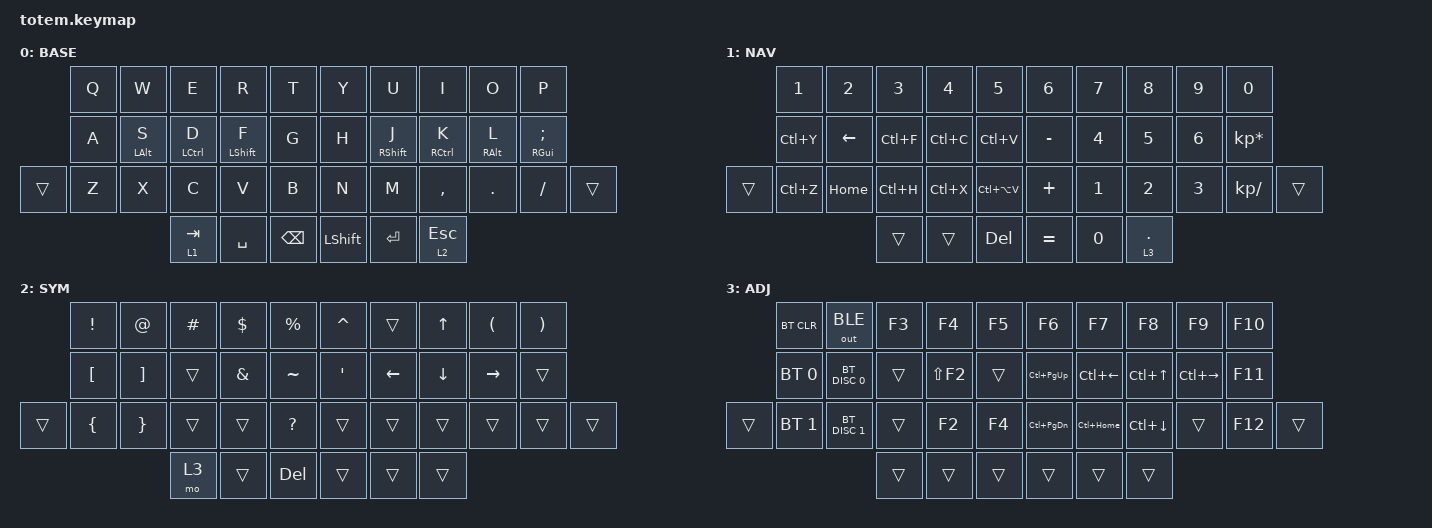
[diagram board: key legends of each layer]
#include <behaviors.dtsi>
#include <dt-bindings/zmk/bt.h>
#include <dt-bindings/zmk/keys.h>
#include <dt-bindings/zmk/outputs.h>

#define BASE 0
#define NAV  1
#define SYM  2
#define ADJ  3
#define TVP1 4
#define TVP2 5

&mt {
    quick-tap-ms = <100>;
    global-quick-tap;
    flavor = "tap-preferred";
    tapping-term-ms = <170>;
};

/ {
    combos {
        compatible = "zmk,combos";

        combo_esc {
            timeout-ms = <50>;
            key-positions = <0 1>;
            bindings = <&kp ESC>;
        };

        combo_tvp {
            timeout-ms = <100>;
            key-positions = <11 12 13>;
            bindings = <&tog 0>;
        };
    };

    macros {
        gif: gif {
            label = "giphy";
            compatible = "zmk,behavior-macro";
            #binding-cells = <0>;
            bindings =
                <&macro_press>,
                <&kp LSHFT>,
                <&macro_tap>,
                <&kp N2>,
                <&macro_release>,
                <&kp LSHFT>,
                <&macro_tap>,
                <&kp G &kp I &kp F>;
        };
    };

    behaviors {
        // Home Row Mods: Tap for key, hold for modifier
        // Balanced for Windows shortcuts

        hrm: home_row_mods {
            compatible = "zmk,behavior-hold-tap";
            #binding-cells = <2>;
            tapping-term-ms = <200>;
            quick-tap-ms = <150>;
            flavor = "tap-preferred";
            bindings = <&kp>, <&kp>;
        };
    };

    keymap {
        compatible = "zmk,keymap";

        base_layer {
            label = "BASE";
            bindings = <
        &kp Q  &kp W        &kp E         &kp R         &kp T            &kp Y           &kp U         &kp I         &kp O        &kp P
        &kp A  &hrm LALT S  &hrm LCTRL D  &hrm LSHFT F  &kp G            &kp H           &hrm RSHFT J  &hrm RCTRL K  &hrm RALT L  &hrm RGUI SEMI
&trans  &kp Z  &kp X        &kp C         &kp V         &kp B            &kp N           &kp M         &kp COMMA     &kp DOT      &kp FSLH        &trans
                            &lt 1 TAB     &kp SPACE     &kp BACKSPACE    &kp LEFT_SHIFT  &kp ENTER     &lt 2 ESC
            >;
        };

        nav_layer {
            label = "NAV";
            bindings = <
        &kp N1     &kp N2          &kp N3     &kp N4     &kp N5           &kp N6     &kp N7        &kp N8        &kp N9        &kp N0
        &kp LC(Y)  &kp LEFT_ARROW  &kp LC(F)  &kp LC(C)  &kp LC(V)        &kp MINUS  &kp NUMBER_4  &kp N5        &kp NUMBER_6  &kp KP_MULTIPLY
&trans  &kp LC(Z)  &kp HOME        &kp LC(H)  &kp LC(X)  &kp LC(LA(V))    &kp PLUS   &kp NUMBER_1  &kp NUMBER_2  &kp NUMBER_3  &kp KP_DIVIDE    &trans
                                   &trans     &trans     &kp DEL          &kp EQUAL  &kp N0        &lt 3 PERIOD
            >;
        };

        sym_layer {
            label = "SYM";
            bindings = <
        &kp EXCL          &kp AT             &kp HASH  &kp DLLR  &kp PRCNT    &kp CARET         &trans          &kp UP_ARROW  &kp LPAR   &kp RPAR
        &kp LEFT_BRACKET  &kp RIGHT_BRACKET  &trans    &kp AMPS  &kp TILDE    &kp SINGLE_QUOTE  &kp LEFT_ARROW  &kp DOWN      &kp RIGHT  &trans
&trans  &kp LEFT_BRACE    &kp RIGHT_BRACE    &trans    &trans    &kp QMARK    &trans            &trans          &trans        &trans     &trans    &trans
                                             &mo 3     &trans    &kp DEL      &trans            &trans          &trans
            >;
        };

        adjust_layer {
            label = "ADJ";
            bindings = <
        &bt BT_CLR    &out OUT_BLE   &kp F3  &kp F4      &kp F5    &kp F6             &kp F7              &kp F8            &kp F9         &kp F10
        &bt BT_SEL 0  &bt BT_DISC 0  &trans  &kp LS(F2)  &trans    &kp LC(PAGE_UP)    &kp LC(LEFT_ARROW)  &kp LC(UP_ARROW)  &kp LC(RIGHT)  &kp F11
&trans  &bt BT_SEL 1  &bt BT_DISC 1  &trans  &kp F2      &kp F4    &kp LC(PAGE_DOWN)  &kp LC(HOME)        &kp LC(DOWN)      &trans         &kp F12  &trans
                                     &trans  &trans      &trans    &trans             &trans              &trans
            >;
        };
    };
};
